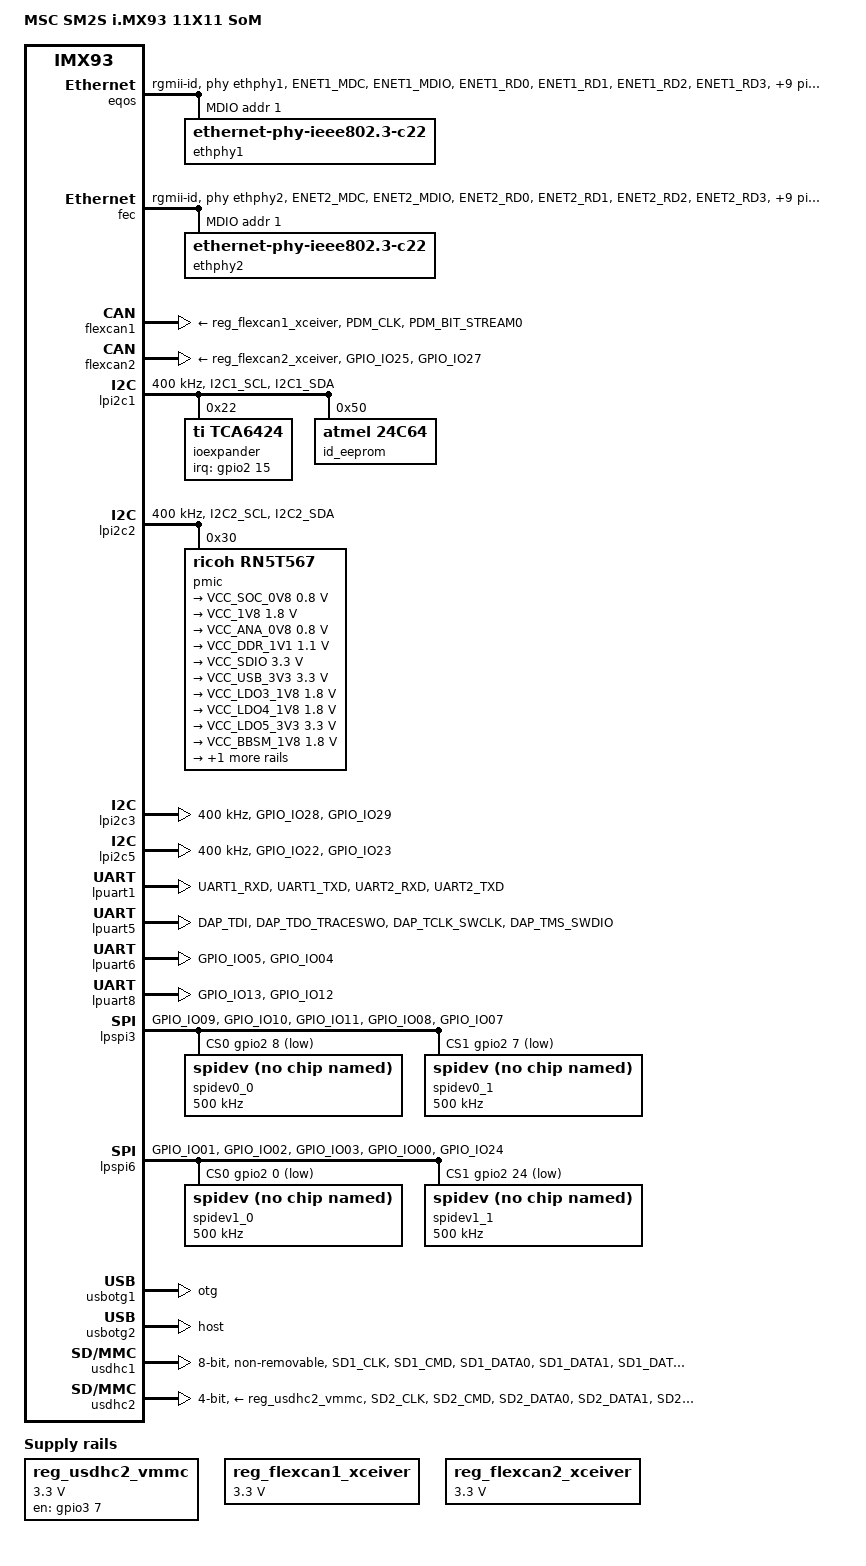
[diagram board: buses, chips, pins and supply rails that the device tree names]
/*
 * Copyright (C) 2022 Avnet Embedded
 *
 * This program is free software; you can redistribute it and/or
 * modify it under the terms of the GNU General Public License as
 * published by the Free Software Foundation version 2.
 *
 * This program is distributed "as is" WITHOUT ANY WARRANTY of any
 * kind, whether express or implied; without even the implied warranty
 * of MERCHANTABILITY or FITNESS FOR A PARTICULAR PURPOSE.  See the
 * GNU General Public License for more details.
 */
/dts-v1/;

#include <dt-bindings/usb/pd.h>
#include "../../freescale/imx93.dtsi"
#include <dt-bindings/net/ti-dp83867.h>
#include <dt-bindings/mfd/ricoh-rn5t618.h>
#include <dt-bindings/input/bbnsm_pwrkey.h>

/ {
	model = "MSC SM2S i.MX93 11X11 SoM";
	compatible = "fsl,imx93-11x11-evk", "fsl,imx93";

	chosen {
		stdout-path = &lpuart1;
	};

	reg_usdhc2_vmmc: regulator-usdhc2 {
		compatible = "regulator-fixed";
		pinctrl-names = "default";
		pinctrl-0 = <&pinctrl_reg_usdhc2_vmmc>;
		regulator-name = "VSD_3V3";
		regulator-min-microvolt = <3300000>;
		regulator-max-microvolt = <3300000>;
		gpio = <&gpio3 7 GPIO_ACTIVE_HIGH>;
		enable-active-high;
	};

	reg_flexcan1_xceiver: regulator-flexcan1 {
		compatible = "regulator-fixed";
		regulator-name = "flexcan1-xceiver";
		regulator-min-microvolt = <3300000>;
		regulator-max-microvolt = <3300000>;
		enable-active-high;
	};

	reg_flexcan2_xceiver: regulator-flexcan2 {
		compatible = "regulator-fixed";
		regulator-name = "flexcan2-xceiver";
		regulator-min-microvolt = <3300000>;
		regulator-max-microvolt = <3300000>;
		enable-active-high;
	};

	i2c_ids {
		compatible = "msc,i2c-ids";
		i2c_gp {
			label = "gp";
			bus = <&lpi2c1>;
		};
		i2c_pm {
			label = "pm";
			bus = <&lpi2c2>;
		};
		i2c_lcd {
			label = "lcd";
			bus = <&lpi2c3>;
		};
		i2c_cam1 {
			label = "cam1";
			bus = <&lpi2c5>;
		};
	};

	lcd0_backlight: lcd0_backlight {
		compatible = "pwm-backlight";
		pwms = <&tpm5 0 100000 0>;
		brightness-levels = <
			  0   1   2   3   4   5   6   7   8   9
			 10  11  12  13  14  15  16  17  18  19
			 20  21  22  23  24  25  26  27  28  29
			 30  31  32  33  34  35  36  37  38  39
			 40  41  42  43  44  45  46  47  48  49
			 50  51  52  53  54  55  56  57  58  59
			 60  61  62  63  64  65  66  67  68  69
			 70  71  72  73  74  75  76  77  78  79
			 80  81  82  83  84  85  86  87  88  89
			 90  91  92  93  94  95  96  97  98  99
			100 101 102 103 104 105 106 107 108 109
			110 111 112 113 114 115 116 117 118 119
			120 121 122 123 124 125 126 127 128 129
			130 131 132 133 134 135 136 137 138 139
			140 141 142 143 144 145 146 147 148 149
			150 151 152 153 154 155 156 157 158 159
			160 161 162 163 164 165 166 167 168 169
			170 171 172 173 174 175 176 177 178 179
			180 181 182 183 184 185 186 187 188 189
			190 191 192 193 194 195 196 197 198 199
			200 201 202 203 204 205 206 207 208 209
			210 211 212 213 214 215 216 217 218 219
			220 221 222 223 224 225 226 227 228 229
			230 231 232 233 234 235 236 237 238 239
			240 241 242 243 244 245 246 247 248 249
			250 251 252 253 254 255
		>;
		default-brightness-level = <255>;
		enable-gpios = <&ioexpander 9 GPIO_ACTIVE_HIGH>;
		status = "disabled";
	};
};

&sai1 {
	status = "disabled";
};

&sai3 {
	status = "disabled";
};

&micfil {
	status = "disabled";
};

&xcvr {
	status = "disabled";
};

&adc1 {
	status = "disabled";
};

/* ENET1, GBE0 */
&eqos {
	pinctrl-names = "default";
	pinctrl-0 = <&pinctrl_eqos>;
	phy-mode = "rgmii-id";
	phy-handle = <&ethphy1>;
	fsl,magic-packet;
	phy-reset-duration = <1>;
	phy-reset-post-delay = <1>;
	phy-reset-gpios = <&ioexpander 6 GPIO_ACTIVE_LOW>;
	status = "okay";

	mdio {
		compatible = "snps,dwmac-mdio";
		#address-cells = <1>;
		#size-cells = <0>;
		clock-frequency = <5000000>;

		ethphy1: ethernet-phy@1 {
			compatible = "ethernet-phy-ieee802.3-c22";
			reg = <1>;
			eee-broken-1000t;
			ti,rx-internal-delay = <DP83867_RGMIIDCTL_2_25_NS>;
			ti,tx-internal-delay = <DP83867_RGMIIDCTL_2_25_NS>;
			ti,fifo-depth = <DP83867_PHYCR_FIFO_DEPTH_4_B_NIB>;
			ti,led-2-sel = <MII_DP83867_LEDCR1_LED_SEL_LE_RX_TX_ACT>;
			ti,led-1-sel = <MII_DP83867_LEDCR1_LED_SEL_1000BT_LE>;
			ti,led-0-sel = <MII_DP83867_LEDCR1_LED_SEL_100BTX_LE>;
			ti,led-gpio-polarity-active-high;
			ti,led-2-polarity-active-high;
			ti,led-1-polarity-active-high;
			ti,led-0-polarity-active-high;
			ti,clk-output-sel = <DP83867_CLK_O_SEL_OFF>;
			ti,deep-power-down-mode-enable;
		};
	};
};

/* ENET2, GBE1 */
&fec {
	pinctrl-names = "default";
	pinctrl-0 = <&pinctrl_fec>;
	phy-mode = "rgmii-id";
	phy-handle = <&ethphy2>;
	fsl,magic-packet;
	phy-reset-duration = <1>;
	phy-reset-post-delay = <1>;
	phy-reset-gpios = <&ioexpander 7 GPIO_ACTIVE_LOW>;
	status = "okay";

	mdio {
		#address-cells = <1>;
		#size-cells = <0>;

		ethphy2: ethernet-phy@1 {
			compatible = "ethernet-phy-ieee802.3-c22";
			reg = <1>;
			eee-broken-1000t;
			ti,rx-internal-delay = <DP83867_RGMIIDCTL_2_25_NS>;
			ti,tx-internal-delay = <DP83867_RGMIIDCTL_2_25_NS>;
			ti,fifo-depth = <DP83867_PHYCR_FIFO_DEPTH_4_B_NIB>;
			ti,led-2-sel = <MII_DP83867_LEDCR1_LED_SEL_LE_RX_TX_ACT>;
			ti,led-1-sel = <MII_DP83867_LEDCR1_LED_SEL_1000BT_LE>;
			ti,led-0-sel = <MII_DP83867_LEDCR1_LED_SEL_100BTX_LE>;
			ti,led-gpio-polarity-active-high;
			ti,led-2-polarity-active-high;
			ti,led-1-polarity-active-high;
			ti,led-0-polarity-active-high;
			ti,clk-output-sel = <DP83867_CLK_O_SEL_OFF>;
			ti,deep-power-down-mode-enable;
		};
	};
};

/* can0 */
&flexcan1 {
	pinctrl-names = "default";
	pinctrl-0 = <&pinctrl_flexcan1>;
	xceiver-supply = <&reg_flexcan1_xceiver>;
	status = "okay";
};

/* can1 */
&flexcan2 {
	pinctrl-names = "default";
	pinctrl-0 = <&pinctrl_flexcan2>;
	xceiver-supply = <&reg_flexcan2_xceiver>;
	status = "okay";
};

&dphy {
	status = "disabled";
};

&dsi {
	status = "disabled";
};

&lcdif {
	status = "disabled";
	assigned-clock-rates = <445333333>, <148444444>, <400000000>, <133333333>;
};

&ldb {
	status = "disabled";
};

&ldb_phy {
	status = "disabled";
};

/* I2C_GP */
&lpi2c1 {
	#address-cells = <1>;
	#size-cells = <0>;
	clock-frequency = <400000>;
	pinctrl-names = "default", "sleep";
	pinctrl-0 = <&pinctrl_lpi2c1>;
	pinctrl-1 = <&pinctrl_lpi2c1>;
	status = "okay";

	ioexpander: gpio@22 {
		pinctrl-names = "default";
		pinctrl-0 = <&pinctrl_ioexpander>;
		compatible = "ti,tca6424";
		reg = <0x22>;
		interrupt-parent = <&gpio2>;
		interrupts = <15 IRQ_TYPE_EDGE_RISING>;
		interrupt-controller;
		#interrupt-cells = <2>;
		gpio-controller;
		#gpio-cells = <2>;

		/* P0.0 -> boot_sel0 */
		boot_sel0 {
			gpio-hog;
			input;
			gpios = <0 GPIO_ACTIVE_HIGH>;
		};

		/* P0.1 -> boot_sel1 */
		boot_sel1 {
			gpio-hog;
			input;
			gpios = <1 GPIO_ACTIVE_HIGH>;
		};

		/* P0.2 -> boot_sel2 */
		boot_sel2 {
			gpio-hog;
			input;
			gpios = <2 GPIO_ACTIVE_HIGH>;
		};

		/* P0.3 -> pmic_int */
		/* P0.4 -> tpm_int */
		/* P0.5 -> wifi_int */
		/* P0.6 -> gbe0_int */
		/* P0.7 -> gbe1_int */

		/* P1.0 -> lcd0_vdd_en */
		/* P1.1 -> lcd0_bklt_en */
		/* P1.2 -> wifi_en */
		wifi_en {
			gpio-hog;
			output-low;
			gpios = <10 GPIO_ACTIVE_HIGH>;
		};

		/* P1.3 -> gbe0_rst */
		gbe0_rst {
			gpio-hog;
			output-high;
			gpios = <11 GPIO_ACTIVE_HIGH>;
		};

		/* P1.4 -> gbe1_rst */
		gbe1_rst {
			gpio-hog;
			output-high;
			gpios = <12 GPIO_ACTIVE_HIGH>;
		};


		/* P1.5 -> usb_rst */
//		usb_rst {
//			gpio-hog;
//			output-low;
//			gpios = <13 GPIO_ACTIVE_LOW>;
//		};

		/* P1.6 -> charging */
		/* P1.7 -> batlow */

		/* P2.0 -> gpio7 */
		/* P2.1 -> gpio8 */
		/* P2.2 -> gpio9 */
		/* P2.3 -> gpio10 */
		/* P2.4 -> gpio11 */
		/* P2.5 -> gpio12 */
		/* P2.6 -> gpio13 */
		/* P2.7 -> sleep */
	};

	id_eeprom: eeprom@50 {
		compatible = "atmel,24c64";
		reg = <0x50>;
		pagesize = <32>;
	};
};

/* I2C_PM */
&lpi2c2 {
	#address-cells = <1>;
	#size-cells = <0>;
	clock-frequency = <400000>;
	pinctrl-names = "default", "sleep";
	pinctrl-0 = <&pinctrl_lpi2c2>;
	pinctrl-1 = <&pinctrl_lpi2c2>;
	status = "okay";

	pmic: pmic@30 {
		compatible = "ricoh,rn5t567";
		reg = <0x30>;
		repower-time = <REPWRTIME_1000MS>;

		regulators {
			DCDC1 {
				regulator-name = "VCC_SOC_0V8";
				regulator-always-on;
				regulator-min-microvolt = <800000>;
				regulator-max-microvolt = <800000>;
			};
			DCDC2 {
				regulator-name = "VCC_1V8";
				regulator-always-on;
				regulator-min-microvolt = <1800000>;
				regulator-max-microvolt = <1800000>;
			};
			DCDC3 {
				regulator-name = "VCC_ANA_0V8";
				regulator-always-on;
				regulator-min-microvolt = <800000>;
				regulator-max-microvolt = <800000>;
			};
			DCDC4 {
				regulator-name = "VCC_DDR_1V1";
				regulator-always-on;
				regulator-min-microvolt = <1100000>;
				regulator-max-microvolt = <1100000>;
			};
			LDO1 {
				regulator-name = "VCC_SDIO";
				regulator-always-on;
				regulator-min-microvolt = <3300000>;
				regulator-max-microvolt = <3300000>;
			};
			LDO2 {
				regulator-name = "VCC_USB_3V3";
				regulator-always-on;
				regulator-min-microvolt = <3300000>;
				regulator-max-microvolt = <3300000>;
			};
			LDO3 {
				regulator-name = "VCC_LDO3_1V8";
				regulator-always-on;
				regulator-min-microvolt = <1800000>;
				regulator-max-microvolt = <1800000>;
			};
			LDO4 {
				regulator-name = "VCC_LDO4_1V8";
				regulator-always-on;
				regulator-min-microvolt = <1800000>;
				regulator-max-microvolt = <1800000>;
			};
			LDO5 {
				regulator-name = "VCC_LDO5_3V3";
				regulator-always-on;
				regulator-min-microvolt = <3300000>;
				regulator-max-microvolt = <3300000>;
			};
			LDORTC1 {
				regulator-name = "VCC_BBSM_1V8";
				regulator-always-on;
				regulator-min-microvolt = <1800000>;
				regulator-max-microvolt = <1800000>;
			};
			LDORTC2 {
				regulator-name = "VCC_SNVS_3V3";
				regulator-always-on;
				regulator-min-microvolt = <3300000>;
				regulator-max-microvolt = <3300000>;
			};
		};
	};
};

/* I2C_LCD */
&lpi2c3 {
	#address-cells = <1>;
	#size-cells = <0>;
	clock-frequency = <400000>;
	pinctrl-names = "default", "sleep";
	pinctrl-0 = <&pinctrl_lpi2c3>;
	pinctrl-1 = <&pinctrl_lpi2c3>;
	status = "okay";
};

/* I2C_CAM */
&lpi2c5 {
	#address-cells = <1>;
	#size-cells = <0>;
	clock-frequency = <400000>;
	pinctrl-names = "default", "sleep";
	pinctrl-0 = <&pinctrl_lpi2c5>;
	pinctrl-1 = <&pinctrl_lpi2c5>;
	status = "okay";
};

/* ser0, console */
&lpuart1 {
	pinctrl-names = "default";
	pinctrl-0 = <&pinctrl_uart1>;
	uart-has-rtscts;
	status = "okay";
};

/* ser2 */
&lpuart5 {
	pinctrl-names = "default";
	pinctrl-0 = <&pinctrl_uart5>;
	uart-has-rtscts;
	status = "okay";
};

/* ser1 */
&lpuart6 {
	pinctrl-names = "default";
	pinctrl-0 = <&pinctrl_uart6>;
	status = "okay";
};

/* ser3 */
&lpuart8 {
	pinctrl-names = "default";
	pinctrl-0 = <&pinctrl_uart8>;
	status = "okay";
};

/* spi 0 */
&lpspi3 {
	pinctrl-names = "default", "sleep";
	pinctrl-0 = <&pinctrl_lpspi3>;
	pinctrl-1 = <&pinctrl_lpspi3>;
	fsl,spi-num-chipselects = <2>;
	cs-gpios =
			<&gpio2 8 GPIO_ACTIVE_LOW>,
			<&gpio2 7 GPIO_ACTIVE_LOW>;
	status = "okay";

	spidev0_0: spi@0 {
		compatible = "rohm,dh2228fv";
		reg = <0>;
		spi-max-frequency = <500000>;
	};

	spidev0_1: spi@1 {
		compatible = "rohm,dh2228fv";
		reg = <1>;
		spi-max-frequency = <500000>;
	};
};

/* spi1 */
&lpspi6 {
	pinctrl-names = "default", "sleep";
	pinctrl-0 = <&pinctrl_lpspi6>;
	pinctrl-1 = <&pinctrl_lpspi6>;
	fsl,spi-num-chipselects = <2>;
	cs-gpios =
			<&gpio2 0 GPIO_ACTIVE_LOW>,
			<&gpio2 24 GPIO_ACTIVE_LOW>;
	status = "okay";

	spidev1_0: spi@0 {
		compatible = "rohm,dh2228fv";
		reg = <0>;
		spi-max-frequency = <500000>;
	};

	spidev1_1: spi@1 {
		compatible = "rohm,dh2228fv";
		reg = <1>;
		spi-max-frequency = <500000>;
	};
};

&mu1 {
	status = "disabled";
};

&mu2 {
	status = "disabled";
};

&usbotg1 {
	dr_mode = "otg";
	hnp-disable;
	srp-disable;
	adp-disable;
	disable-over-current;
	samsung,picophy-pre-emp-curr-control = <3>;
	samsung,picophy-dc-vol-level-adjust = <7>;
	status = "okay";
};

&usbotg2 {
	dr_mode = "host";
	hnp-disable;
	srp-disable;
	adp-disable;
	disable-over-current;
	samsung,picophy-pre-emp-curr-control = <3>;
	samsung,picophy-dc-vol-level-adjust = <7>;
	status = "okay";
};

/* module eMMC */
&usdhc1 {
	pinctrl-names = "default", "state_100mhz", "state_200mhz";
	pinctrl-0 = <&pinctrl_usdhc1>;
	pinctrl-1 = <&pinctrl_usdhc1>;
	pinctrl-2 = <&pinctrl_usdhc1>;
	bus-width = <8>;
	non-removable;
	status = "okay";
};

/* baseboard sd */
&usdhc2 {
	pinctrl-names = "default", "state_100mhz", "state_200mhz";
	pinctrl-0 = <&pinctrl_usdhc2>, <&pinctrl_usdhc2_gpio>;
	pinctrl-1 = <&pinctrl_usdhc2>, <&pinctrl_usdhc2_gpio>;
	pinctrl-2 = <&pinctrl_usdhc2>, <&pinctrl_usdhc2_gpio>;
	cd-gpios = <&gpio3 0 GPIO_ACTIVE_LOW>;
	wp-gpios = <&gpio3 19 GPIO_ACTIVE_HIGH>;
	vmmc-supply = <&reg_usdhc2_vmmc>;
	bus-width = <4>;
	status = "okay";
	no-sdio;	/* Do not send SD commands during initialization */
	no-mmc;		/* Do not send (e)MMC commands during initialization */
	no-1-8-v;
};

&usdhc3 {
	status = "disabled";
};

&epxp {
	status = "disabled";
};

&cameradev {
	status = "disabled";
};

&isi_0 {
	status = "disabled";

	cap_device {
		status = "disabled";
	};
};

&mipi_csi {
	status = "disabled";
};

&tpm5 {
	pinctrl-names = "default";
	pinctrl-0 = <&pinctrl_tpm5>;
	status = "disabled";
};

&bbnsm_pwrkey {
	turn-on-time = <BBNSM_TURN_ON_TIME_0MS>;
};

&iomuxc {
	pinctrl_eqos: eqosgrp {
		fsl,pins = <
			MX93_PAD_ENET1_MDC__ENET_QOS_MDC			0x57e
			MX93_PAD_ENET1_MDIO__ENET_QOS_MDIO			0x57e
			MX93_PAD_ENET1_RD0__ENET_QOS_RGMII_RD0			0x57e
			MX93_PAD_ENET1_RD1__ENET_QOS_RGMII_RD1			0x57e
			MX93_PAD_ENET1_RD2__ENET_QOS_RGMII_RD2			0x57e
			MX93_PAD_ENET1_RD3__ENET_QOS_RGMII_RD3			0x57e
			MX93_PAD_ENET1_RXC__CCM_ENET_QOS_CLOCK_GENERATE_RX_CLK	0x5fe
			MX93_PAD_ENET1_RX_CTL__ENET_QOS_RGMII_RX_CTL		0x57e
			MX93_PAD_ENET1_TD0__ENET_QOS_RGMII_TD0			0x57e
			MX93_PAD_ENET1_TD1__ENET_QOS_RGMII_TD1			0x57e
			MX93_PAD_ENET1_TD2__ENET_QOS_RGMII_TD2			0x57e
			MX93_PAD_ENET1_TD3__ENET_QOS_RGMII_TD3			0x57e
			MX93_PAD_ENET1_TXC__CCM_ENET_QOS_CLOCK_GENERATE_TX_CLK	0x5fe
			MX93_PAD_ENET1_TX_CTL__ENET_QOS_RGMII_TX_CTL		0x57e
		>;
	};

	pinctrl_fec: fecgrp {
		fsl,pins = <
			MX93_PAD_ENET2_MDC__ENET1_MDC				0x57e
			MX93_PAD_ENET2_MDIO__ENET1_MDIO				0x57e
			MX93_PAD_ENET2_RD0__ENET1_RGMII_RD0			0x57e
			MX93_PAD_ENET2_RD1__ENET1_RGMII_RD1			0x57e
			MX93_PAD_ENET2_RD2__ENET1_RGMII_RD2			0x57e
			MX93_PAD_ENET2_RD3__ENET1_RGMII_RD3			0x57e
			MX93_PAD_ENET2_RXC__ENET1_RGMII_RXC			0x5fe
			MX93_PAD_ENET2_RX_CTL__ENET1_RGMII_RX_CTL	0x57e
			MX93_PAD_ENET2_TD0__ENET1_RGMII_TD0			0x57e
			MX93_PAD_ENET2_TD1__ENET1_RGMII_TD1			0x57e
			MX93_PAD_ENET2_TD2__ENET1_RGMII_TD2			0x57e
			MX93_PAD_ENET2_TD3__ENET1_RGMII_TD3			0x57e
			MX93_PAD_ENET2_TXC__ENET1_RGMII_TXC			0x5fe
			MX93_PAD_ENET2_TX_CTL__ENET1_RGMII_TX_CTL	0x57e
		>;
	};

	/* I2C_GP */
	pinctrl_lpi2c1: lpi2c1grp {
		fsl,pins = <
			MX93_PAD_I2C1_SCL__LPI2C1_SCL			0x40000b9e
			MX93_PAD_I2C1_SDA__LPI2C1_SDA			0x40000b9e
		>;
	};

	/* I2C_PM */
	pinctrl_lpi2c2: lpi2c2grp {
		fsl,pins = <
			MX93_PAD_I2C2_SCL__LPI2C2_SCL			0x40000b9e
			MX93_PAD_I2C2_SDA__LPI2C2_SDA			0x40000b9e
		>;
	};

	/* I2C_LCD */
	pinctrl_lpi2c3: lpi2c3grp {
		fsl,pins = <
			MX93_PAD_GPIO_IO28__LPI2C3_SDA			0x40000b9e
			MX93_PAD_GPIO_IO29__LPI2C3_SCL			0x40000b9e
		>;
	};

	/* I2C_CAM */
	pinctrl_lpi2c5: lpi2c5grp {
		fsl,pins = <
			MX93_PAD_GPIO_IO22__LPI2C5_SDA			0x40000b9e
			MX93_PAD_GPIO_IO23__LPI2C5_SCL			0x40000b9e
		>;
	};

	/* ser0, console */
	pinctrl_uart1: uart1grp {
		fsl,pins = <
			MX93_PAD_UART1_RXD__LPUART1_RX			0x31e
			MX93_PAD_UART1_TXD__LPUART1_TX			0x31e
			MX93_PAD_UART2_RXD__LPUART1_CTS_B		0x31e
			MX93_PAD_UART2_TXD__LPUART1_RTS_B		0x31e
		>;
	};

	/* ser2 */
	pinctrl_uart5: uart5grp {
		fsl,pins = <
			MX93_PAD_DAP_TDI__LPUART5_RX			0x31e
			MX93_PAD_DAP_TDO_TRACESWO__LPUART5_TX	0x31e
			MX93_PAD_DAP_TCLK_SWCLK__LPUART5_CTS_B	0x31e
			MX93_PAD_DAP_TMS_SWDIO__LPUART5_RTS_B	0x31e
		>;
	};

	/* ser1 */
	pinctrl_uart6: uart6grp {
		fsl,pins = <
			MX93_PAD_GPIO_IO05__LPUART6_RX			0x31e
			MX93_PAD_GPIO_IO04__LPUART6_TX			0x31e
		>;
	};

	/* ser3 */
	pinctrl_uart8: uart8grp {
		fsl,pins = <
			MX93_PAD_GPIO_IO13__LPUART8_RX			0x31e
			MX93_PAD_GPIO_IO12__LPUART8_TX			0x31e
		>;
	};

	pinctrl_usdhc1: usdhc1grp {
		fsl,pins = <
			MX93_PAD_SD1_CLK__USDHC1_CLK		0x17fe
			MX93_PAD_SD1_CMD__USDHC1_CMD		0x13fe
			MX93_PAD_SD1_DATA0__USDHC1_DATA0	0x13fe
			MX93_PAD_SD1_DATA1__USDHC1_DATA1	0x13fe
			MX93_PAD_SD1_DATA2__USDHC1_DATA2	0x13fe
			MX93_PAD_SD1_DATA3__USDHC1_DATA3	0x13fe
			MX93_PAD_SD1_DATA4__USDHC1_DATA4	0x13fe
			MX93_PAD_SD1_DATA5__USDHC1_DATA5	0x13fe
			MX93_PAD_SD1_DATA6__USDHC1_DATA6	0x13fe
			MX93_PAD_SD1_DATA7__USDHC1_DATA7	0x13fe
			MX93_PAD_SD1_STROBE__USDHC1_STROBE	0x17fe
		>;
	};

	pinctrl_reg_usdhc2_vmmc: regusdhc2vmmcgrp {
		fsl,pins = <
			MX93_PAD_SD2_RESET_B__GPIO3_IO07	0x31e
		>;
	};

	pinctrl_usdhc2_gpio: usdhc2gpiogrp {
		fsl,pins = <
			MX93_PAD_SD2_CD_B__GPIO3_IO00		0x31e
			MX93_PAD_SD2_VSELECT__GPIO3_IO19	0x31e
		>;
	};

	pinctrl_usdhc2: usdhc2grp {
		fsl,pins = <
			MX93_PAD_SD2_CLK__USDHC2_CLK			0x17fe
			MX93_PAD_SD2_CMD__USDHC2_CMD			0x13fe
			MX93_PAD_SD2_DATA0__USDHC2_DATA0		0x13fe
			MX93_PAD_SD2_DATA1__USDHC2_DATA1		0x13fe
			MX93_PAD_SD2_DATA2__USDHC2_DATA2		0x13fe
			MX93_PAD_SD2_DATA3__USDHC2_DATA3		0x13fe
		>;
	};

	pinctrl_sai1: sai1grp {
		fsl,pins = <
			MX93_PAD_SAI1_TXC__SAI1_TX_BCLK			0x31e
			MX93_PAD_SAI1_TXFS__SAI1_TX_SYNC		0x31e
			MX93_PAD_SAI1_TXD0__SAI1_TX_DATA00		0x31e
			MX93_PAD_SAI1_RXD0__SAI1_RX_DATA00		0x31e
		>;
	};

	pinctrl_sai3: sai3grp {
		fsl,pins = <
			MX93_PAD_GPIO_IO26__SAI3_TX_SYNC		0x31e
			MX93_PAD_GPIO_IO16__SAI3_TX_BCLK		0x31e
			MX93_PAD_GPIO_IO17__SAI3_MCLK		0x31e
			MX93_PAD_GPIO_IO19__SAI3_TX_DATA00		0x31e
			MX93_PAD_GPIO_IO20__SAI3_RX_DATA00		0x31e
		>;
	};

	pinctrl_ioexpander: ioexpandergrp {
		fsl,pins = <
			MX93_PAD_GPIO_IO15__GPIO2_IO15			0x31e
		>;
	};

	/* can0 */
	pinctrl_flexcan1: flexcan1grp {
		fsl,pins = <
			MX93_PAD_PDM_CLK__CAN1_TX			0x139e
			MX93_PAD_PDM_BIT_STREAM0__CAN1_RX	0x139e
		>;
	};

	/* can1 */
	pinctrl_flexcan2: flexcan2grp {
		fsl,pins = <
			MX93_PAD_GPIO_IO25__CAN2_TX			0x139e
			MX93_PAD_GPIO_IO27__CAN2_RX			0x139e
		>;
	};

	/* spi 0 */
	pinctrl_lpspi3: lpspi3grp {
		fsl,pins = <
			MX93_PAD_GPIO_IO09__LPSPI3_SIN		0x3fe
			MX93_PAD_GPIO_IO10__LPSPI3_SOUT		0x3fe
			MX93_PAD_GPIO_IO11__LPSPI3_SCK		0x3fe
			MX93_PAD_GPIO_IO08__GPIO2_IO08		0x3fe
			MX93_PAD_GPIO_IO07__GPIO2_IO07		0x3fe
		>;
	};

	/* spi 1 */
	pinctrl_lpspi6: lpspi6grp {
		fsl,pins = <
			MX93_PAD_GPIO_IO01__LPSPI6_SIN		0x3fe
			MX93_PAD_GPIO_IO02__LPSPI6_SOUT		0x3fe
			MX93_PAD_GPIO_IO03__LPSPI6_SCK		0x3fe
			MX93_PAD_GPIO_IO00__GPIO2_IO00		0x3fe
			MX93_PAD_GPIO_IO24__GPIO2_IO24		0x3fe
		>;
	};

	pinctrl_tpm5: tpm5grp {
		fsl,pins = <
			MX93_PAD_GPIO_IO06__TPM5_CH0		0x3fe
		>;
	};
};
